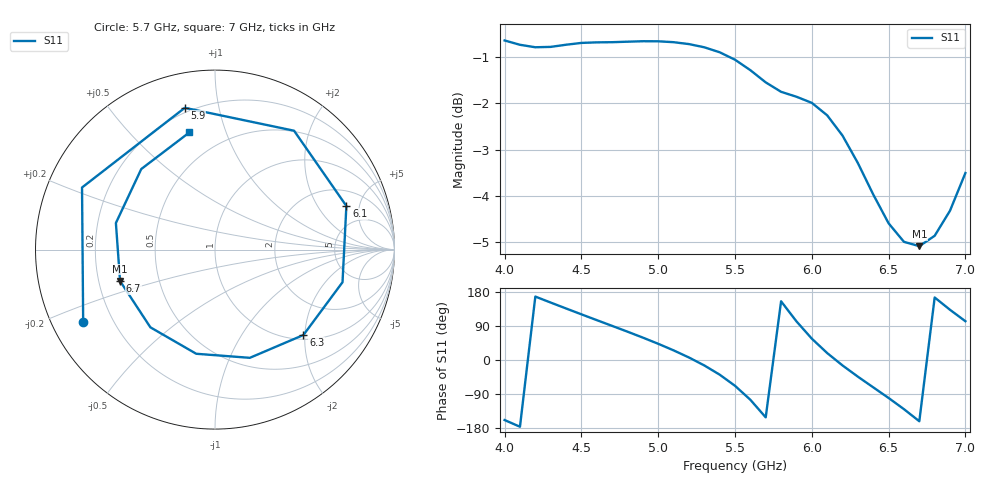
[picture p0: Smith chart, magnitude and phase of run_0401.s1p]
! Touchstone file exported from HFSS 2024.2.0
!  File:  C:/Users/wsak9/Desktop/Sim Fast/Widenad Patch/WP_AI_V1_sweep.aedt
!  Generated:  08:16:31 AM Oct 14, 2026
!  Design:  A1_model
!  Project:  WP_AI_V1_sweep
!  Setup:  Setup1
!  Solution:  Sweep
! Variables:
!  Air_gap = 4.55mm
!  Curve_Amp1 = 1.96
!  Curve_len1 = 1
!  Curve_pos = 10.075mm
!  Extra = 5.61mm
!  H_sub = 0.79mm
!  L_Patch = 16.15mm
!  L_Patch1 = 22.6mm
!  Sx = 0.21mm
!  Sy = 4.82mm
!  WS = 1.16mm
!  W_Patch = 10.58mm
!  W_Patch1 = 16.99mm
!Data is not renormalized
# GHz S MA
! Terminal data exported
! Port[1] = 1
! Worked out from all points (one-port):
!   31 points, 4 GHz to 7 GHz, reference per port
!   lowest |S11| = -5.1 dB at 6.7 GHz (marker M1), VSWR 3.52
!   |S11| at or under -10 dB: nowhere
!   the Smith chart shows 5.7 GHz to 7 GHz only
!   S11 on the Smith chart (normalised r, x): 5.7 GHz: 0.09, -0.25; 5.9 GHz: 0.17, +0.79; 6.1 GHz: 3.09, +3.71; 6.3 GHz: 1.10, -1.97; 6.7 GHz: 0.29, -0.15; 7 GHz: 0.32, +0.75
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4  0.9289 -158.5
4.1  0.919 -176.1
4.2  0.9134 167.4
4.4  0.9191 136.0
4.6  0.9245 105.2
4.8  0.926 74.8
4.9  0.9271 59.1
5  0.927 42.8
5.1  0.9249 25.5
5.2  0.9206 6.7
5.3  0.9133 -14.3
5.4  0.9021 -38.6
5.5  0.8855 -68.1
5.6  0.8628 -105.0
5.7  0.837 -151.3
5.8  0.8176 155.0
5.9  0.8077 102.0
6  0.7955 56.4
6.1  0.7712 18.4
6.2  0.7333 -14.3
6.3  0.6849 -44.0
6.4  0.6335 -72.1
6.5  0.5897 -100.2
6.6  0.5632 -129.7
6.7  0.5571 -161.7
6.8  0.5717 165.0
6.9  0.6085 132.4
7  0.6682 102.3
